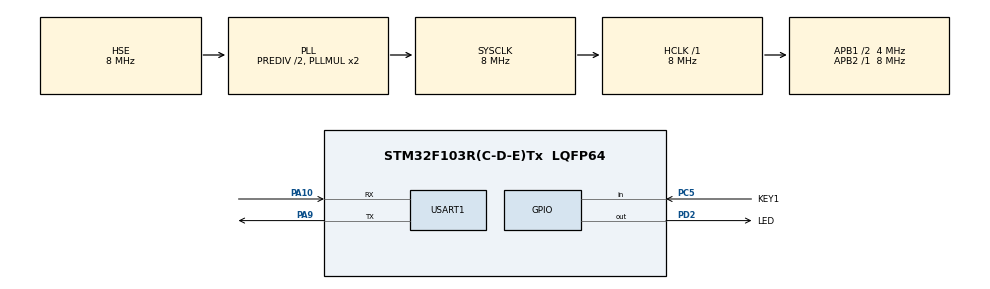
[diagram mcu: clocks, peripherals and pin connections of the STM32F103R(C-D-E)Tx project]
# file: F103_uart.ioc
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Mcu.Family=STM32F1
Mcu.Name=STM32F103R(C-D-E)Tx
Mcu.Package=LQFP64
NVIC.PriorityGroup=NVIC_PRIORITYGROUP_4
NVIC.USART1_IRQn=true\:0\:0\:false\:false\:true\:true\:true
PA10.Mode=Asynchronous
PA10.Signal=USART1_RX
PA13.Mode=Serial_Wire
PA13.Signal=SYS_JTMS-SWDIO
PA14.Mode=Serial_Wire
PA14.Signal=SYS_JTCK-SWCLK
PA9.Mode=Asynchronous
PA9.Signal=USART1_TX
PC5.GPIO_Label=KEY1
PC5.GPIO_Mode=GPIO_MODE_INPUT
PC5.GPIO_PuPd=GPIO_PULLUP
PC5.Signal=GPIO_Input
PD0-OSC_IN.Mode=HSE-External-Oscillator
PD0-OSC_IN.Signal=RCC_OSC_IN
PD1-OSC_OUT.Mode=HSE-External-Oscillator
PD1-OSC_OUT.Signal=RCC_OSC_OUT
PD2.GPIO_Label=LED
PD2.Signal=GPIO_Output
ProjectManager.HeapSize=0x200
ProjectManager.StackSize=0x400
ProjectManager.TargetToolchain=MDK-ARM V5
RCC.AHBFreq_Value=8000000
RCC.APB1CLKDivider=RCC_HCLK_DIV2
RCC.APB1Freq_Value=4000000
RCC.APB1TimFreq_Value=8000000
RCC.APB2Freq_Value=8000000
RCC.APB2TimFreq_Value=8000000
RCC.HCLKFreq_Value=8000000
RCC.HSEDivPLL=RCC_HSE_PREDIV_DIV2
RCC.PLLSourceVirtual=RCC_PLLSOURCE_HSE
RCC.SYSCLKFreq_VALUE=8000000
RCC.SYSCLKSource=RCC_SYSCLKSOURCE_PLLCLK
RCC.USBFreq_Value=8000000
USART1.VirtualMode=VM_ASYNC
board=custom

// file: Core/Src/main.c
/* USER CODE BEGIN Header */
/**
  ******************************************************************************
  * @file           : main.c
  * @brief          : Main program body
  ******************************************************************************
  * @attention
  *
  * <h2><center>&copy; Copyright (c) 2021 STMicroelectronics.
  * All rights reserved.</center></h2>
  *
  * This software component is licensed by ST under BSD 3-Clause license,
  * the "License"; You may not use this file except in compliance with the
  * License. You may obtain a copy of the License at:
  *                        opensource.org/licenses/BSD-3-Clause
  *
  ******************************************************************************
  */
/* USER CODE END Header */
#include "main.h"

/* USER CODE BEGIN Includes */
#include "stdio.h"
#include "uart.h"
/* USER CODE END Includes */

/* USER CODE BEGIN PD */
/**
  * 函数功能: 重定向c库函数printf到DEBUG_USARTx
  * 输入参数: 无
  * 返 回 值: 无
  * 说    明：无
  */
int fputc(int ch, FILE *f) {
    HAL_UART_Transmit(&huart1, (uint8_t *)&ch, 1, 0xffff);
    return ch;
}

/**
  * 函数功能: 重定向c库函数getchar,scanf到DEBUG_USARTx
  * 输入参数: 无
  * 返 回 值: 无
  * 说    明：无
  */
int fgetc(FILE *f) {
    uint8_t ch = 0;
    HAL_UART_Receive(&huart1, &ch, 1, 0xffff);
    return ch;
}
/* USER CODE END PD */

/* USER CODE BEGIN PM */
//unsigned char Uart1ReceiveBuf[MAX_REC_LENGTH] = {0}; //UART1 存储接收数据
//unsigned char Uart1ReceiveFlag = 0; //UART1 接收完成标志
//unsigned int Uart1ReceiveCnt = 0; //UART1 接受数据计数器
//unsigned char Uart1Temp[REC_LENGTH] = {0}; //UART1 接收数据缓存
/* USER CODE END PM */

UART_HandleTypeDef huart1;

void SystemClock_Config(void);
static void MX_GPIO_Init(void);
static void MX_USART1_UART_Init(void);

/* USER CODE BEGIN 0 */
void HAL_UART_RxCpltCallback(UART_HandleTypeDef *huart) {
    if(huart->Instance==USART1) {
        Uart1ReceiveBuf[Uart1ReceiveCnt] = Uart1Temp[0];
        Uart1ReceiveCnt++;
        if(0x0a == Uart1Temp[0]) {
            Uart1ReceiveFlag = 1;
        }
        HAL_UART_Receive_IT(&huart1,(uint8_t *)Uart1Temp,REC_LENGTH);
    }
}
/* USER CODE END 0 */

int main(void) {

    /* MCU Configuration--------------------------------------------------------*/

    /* Reset of all peripherals, Initializes the Flash interface and the Systick. */
    HAL_Init();

    /* Configure the system clock */
    SystemClock_Config();

    /* Initialize all configured peripherals */
    MX_GPIO_Init();
    MX_USART1_UART_Init();

    /* Infinite loop */
    /* USER CODE BEGIN WHILE */
    while (1) {
		if(!KEY1){
			HAL_Delay(10);
			while(!KEY1)
				;
			printf( "Hello world!\r\n");
			HAL_Delay(10);
		}

        /* USER CODE END WHILE */

    }
}

void SystemClock_Config(void) {
    RCC_OscInitTypeDef RCC_OscInitStruct = {0};
    RCC_ClkInitTypeDef RCC_ClkInitStruct = {0};

    /** Initializes the RCC Oscillators according to the specified parameters
    * in the RCC_OscInitTypeDef structure.
    */
    RCC_OscInitStruct.OscillatorType = RCC_OSCILLATORTYPE_HSE;
    RCC_OscInitStruct.HSEState = RCC_HSE_ON;
    RCC_OscInitStruct.HSEPredivValue = RCC_HSE_PREDIV_DIV2;
    RCC_OscInitStruct.HSIState = RCC_HSI_ON;
    RCC_OscInitStruct.PLL.PLLState = RCC_PLL_ON;
    RCC_OscInitStruct.PLL.PLLSource = RCC_PLLSOURCE_HSE;
    RCC_OscInitStruct.PLL.PLLMUL = RCC_PLL_MUL2;
    if (HAL_RCC_OscConfig(&RCC_OscInitStruct) != HAL_OK) {
        Error_Handler();
    }
    /** Initializes the CPU, AHB and APB buses clocks
    */
    RCC_ClkInitStruct.ClockType = RCC_CLOCKTYPE_HCLK|RCC_CLOCKTYPE_SYSCLK
                                  |RCC_CLOCKTYPE_PCLK1|RCC_CLOCKTYPE_PCLK2;
    RCC_ClkInitStruct.SYSCLKSource = RCC_SYSCLKSOURCE_PLLCLK;
    RCC_ClkInitStruct.AHBCLKDivider = RCC_SYSCLK_DIV1;
    RCC_ClkInitStruct.APB1CLKDivider = RCC_HCLK_DIV2;
    RCC_ClkInitStruct.APB2CLKDivider = RCC_HCLK_DIV1;

    if (HAL_RCC_ClockConfig(&RCC_ClkInitStruct, FLASH_LATENCY_0) != HAL_OK) {
        Error_Handler();
    }
}

static void MX_USART1_UART_Init(void) {

    huart1.Instance = USART1;
    huart1.Init.BaudRate = 115200;
    huart1.Init.WordLength = UART_WORDLENGTH_8B;
    huart1.Init.StopBits = UART_STOPBITS_1;
    huart1.Init.Parity = UART_PARITY_NONE;
    huart1.Init.Mode = UART_MODE_TX_RX;
    huart1.Init.HwFlowCtl = UART_HWCONTROL_NONE;
    huart1.Init.OverSampling = UART_OVERSAMPLING_16;
    if (HAL_UART_Init(&huart1) != HAL_OK) {
        Error_Handler();
    }
    /* USER CODE BEGIN USART1_Init 2 */
    HAL_UART_Receive_IT(&huart1,Uart1Temp,1);
    /* USER CODE END USART1_Init 2 */

}

static void MX_GPIO_Init(void) {
    GPIO_InitTypeDef GPIO_InitStruct = {0};

    /* GPIO Ports Clock Enable */
    __HAL_RCC_GPIOD_CLK_ENABLE();
    __HAL_RCC_GPIOC_CLK_ENABLE();
    __HAL_RCC_GPIOA_CLK_ENABLE();

    /*Configure GPIO pin Output Level */
    HAL_GPIO_WritePin(LED_GPIO_Port, LED_Pin, GPIO_PIN_RESET);

    /*Configure GPIO pin : KEY1_Pin */
    GPIO_InitStruct.Pin = KEY1_Pin;
    GPIO_InitStruct.Mode = GPIO_MODE_INPUT;
    GPIO_InitStruct.Pull = GPIO_PULLUP;
    HAL_GPIO_Init(KEY1_GPIO_Port, &GPIO_InitStruct);

    /*Configure GPIO pin : LED_Pin */
    GPIO_InitStruct.Pin = LED_Pin;
    GPIO_InitStruct.Mode = GPIO_MODE_OUTPUT_PP;
    GPIO_InitStruct.Pull = GPIO_NOPULL;
    GPIO_InitStruct.Speed = GPIO_SPEED_FREQ_LOW;
    HAL_GPIO_Init(LED_GPIO_Port, &GPIO_InitStruct);

}

void Error_Handler(void) {
}

/************************ (C) COPYRIGHT STMicroelectronics *****END OF FILE****/
